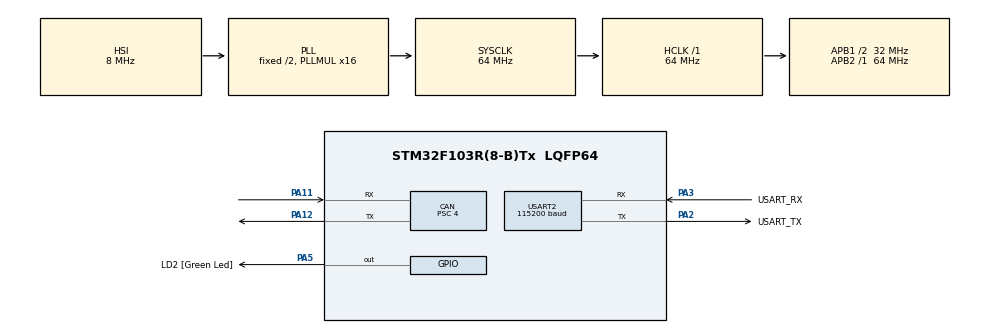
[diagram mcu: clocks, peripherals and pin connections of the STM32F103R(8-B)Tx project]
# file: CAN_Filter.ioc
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CAN.AutoRetransmission=ENABLE
CAN.BS1=CAN_BS1_13TQ
CAN.BS2=CAN_BS2_2TQ
CAN.CalculateBaudRate=500000
CAN.CalculateTimeBit=2000
CAN.CalculateTimeQuantum=125
CAN.Mode=CAN_MODE_LOOPBACK
CAN.Prescaler=4
Mcu.Family=STM32F1
Mcu.Name=STM32F103R(8-B)Tx
Mcu.Package=LQFP64
NVIC.CAN1_RX1_IRQn=true\:1\:0\:false\:false\:true\:true\:true\:true
NVIC.PriorityGroup=NVIC_PRIORITYGROUP_4
NVIC.USB_LP_CAN1_RX0_IRQn=true\:1\:0\:false\:false\:true\:true\:true\:true
PA11.GPIO_PuPd=GPIO_PULLUP
PA11.Mode=Master
PA11.Signal=CAN_RX
PA12.GPIO_Speed=GPIO_SPEED_FREQ_HIGH
PA12.Mode=Master
PA12.Signal=CAN_TX
PA13.GPIO_Label=TMS
PA13.Mode=Serial_Wire
PA13.Signal=SYS_JTMS-SWDIO
PA14.GPIO_Label=TCK
PA14.Mode=Serial_Wire
PA14.Signal=SYS_JTCK-SWCLK
PA2.GPIO_Label=USART_TX
PA2.GPIO_Mode=GPIO_MODE_AF_PP
PA2.GPIO_PuPd=GPIO_NOPULL
PA2.GPIO_Speed=GPIO_SPEED_FREQ_LOW
PA2.Mode=Asynchronous
PA2.Signal=USART2_TX
PA3.GPIO_Label=USART_RX
PA3.GPIO_PuPd=GPIO_NOPULL
PA3.GPIO_Speed=GPIO_SPEED_FREQ_LOW
PA3.Mode=Asynchronous
PA3.Signal=USART2_RX
PA5.GPIO_Label=LD2 [Green Led]
PA5.GPIO_ModeDefaultOutputPP=GPIO_MODE_OUTPUT_PP
PA5.GPIO_PuPd=GPIO_NOPULL
PA5.GPIO_Speed=GPIO_SPEED_FREQ_LOW
PA5.Signal=GPIO_Output
PB3.GPIO_Label=SWO
PB3.Signal=SYS_JTDO-TRACESWO
PC14-OSC32_IN.Mode=LSE-External-Oscillator
PC14-OSC32_IN.Signal=RCC_OSC32_IN
PC15-OSC32_OUT.Mode=LSE-External-Oscillator
PC15-OSC32_OUT.Signal=RCC_OSC32_OUT
PD0-OSC_IN.Mode=HSE-External-Clock-Source
PD0-OSC_IN.Signal=RCC_OSC_IN
PD1-OSC_OUT.Mode=HSE-External-Clock-Source
PD1-OSC_OUT.Signal=RCC_OSC_OUT
ProjectManager.HeapSize=0x200
ProjectManager.StackSize=0x400
ProjectManager.TargetToolchain=STM32CubeIDE
RCC.AHBFreq_Value=64000000
RCC.APB1CLKDivider=RCC_HCLK_DIV2
RCC.APB1Freq_Value=32000000
RCC.APB1TimFreq_Value=64000000
RCC.APB2Freq_Value=64000000
RCC.APB2TimFreq_Value=64000000
RCC.HCLKFreq_Value=64000000
RCC.PLLMUL=RCC_PLL_MUL16
RCC.RTCClockSelection=RCC_RTCCLKSOURCE_LSE
RCC.SYSCLKFreq_VALUE=64000000
RCC.SYSCLKSource=RCC_SYSCLKSOURCE_PLLCLK
RCC.USBFreq_Value=64000000
USART2.BaudRate=115200
USART2.VirtualMode=VM_ASYNC
board=NUCLEO-F103RB

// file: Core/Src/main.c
/* USER CODE BEGIN Header */
/**
 ******************************************************************************
 * @file           : main.c
 * @brief          : Main program body
 ******************************************************************************
 * @attention
 *
 * Copyright (c) 2026 STMicroelectronics.
 * All rights reserved.
 *
 * This software is licensed under terms that can be found in the LICENSE file
 * in the root directory of this software component.
 * If no LICENSE file comes with this software, it is provided AS-IS.
 *
 ******************************************************************************
 */
/**
 * 02_CAN_Filter_c  —  [계층: HAL]  bxCAN 수신 필터(Acceptance filter): ID 리스트 / 마스크 / 표준·확장 프레임, FIFO0·FIFO1 분배
 *
 * 01_CAN_Loopback 은 "모든 프레임 통과" 필터 하나만 썼다. 실제 CAN 버스에는 수많은 ID 가 흐르므로, 관심 있는 것만 하드웨어가 걸러
 * CPU 가 받는 프레임 수를 줄이는 것이 필터의 역할이다 (RM0008 24.7.4 Identifier filtering). 루프백 모드라 트랜시버 없이 시험 가능.
 *
 * 필터 뱅크 (F103xB: 14개 뱅크, 각 뱅크는 32비트 x2 레지스터)  — 이 예제는 3개 사용
 *   뱅크0  32비트 ID 리스트 : 표준 ID 0x100 과 0x200 "정확히" 일치하는 프레임만  -> FIFO0
 *   뱅크1  16비트 마스크    : 표준 ID 0x300~0x3FF (상위 3비트 0b011 일치, 마스크 0x700) 데이터 프레임 -> FIFO1
 *   뱅크2  32비트 마스크    : 확장(29비트) ID 의 ID[28:16] 이 0x18FF 인 것 (0x18FF0000~0x18FFFFFF) -> FIFO0
 *   그 외 ID(표준 0x400, 확장 0x1ABCDEF0)는 어떤 필터에도 안 맞아 수신되지 않는다.
 *
 * 동작: 다음 7개 프레임을 루프백으로 송신하고, 어떤 프레임이 어느 FIFO 로 수신됐는지 표로 출력 (UART 115200)
 *   STD 0x100 / STD 0x200 / STD 0x300 / STD 0x3A5 / STD 0x400 / EXT 0x18FF0001 / EXT 0x1ABCDEF0
 *   기대: 0x100,0x200,EXT 0x18FF0001 -> FIFO0 / 0x300,0x3A5 -> FIFO1 / 0x400, EXT 0x1ABCDEF0 -> 수신 안 됨
 *
 * 필터 레지스터 인코딩 (32비트 스케일): ID 레지스터 = STDID<<21 | EXTID<<3 | IDE<<2 | RTR<<1
 *   표준 ID X : High = X<<5, Low = 0        확장 ID E : High = E>>13, Low = ((E<<3) & 0xFFFF) | IDE(0x4)
 *   16비트 스케일: 각 16비트 필터 = STDID<<5 | RTR<<4 | IDE<<3 | EXTID[17:15]. 뱅크 1개가 (ID, 마스크) 쌍 2개를 담는다.
 *   마스크 모드: 마스크의 1 인 비트는 ID 와 "반드시 일치", 0 인 비트는 "무시".   리스트 모드: 두 ID 와 정확히 일치.
 *
 * ISR vs 콜백
 *   USB_LP_CAN1_RX0_IRQHandler / CAN1_RX1_IRQHandler (stm32f1xx_it.c, 진짜 ISR) -> HAL_CAN_IRQHandler()
 *     -> HAL_CAN_RxFifo0MsgPendingCallback() / HAL_CAN_RxFifo1MsgPendingCallback() (이 파일)
 */
/* USER CODE END Header */
#include "main.h"

/* USER CODE BEGIN Includes */
#include <stdio.h>
#include <string.h>
/* USER CODE END Includes */

/* USER CODE BEGIN PTD */
typedef struct { uint32_t id; uint8_t ext; uint8_t fifo; } rx_rec_t;

/* USER CODE END PTD */

CAN_HandleTypeDef hcan;
UART_HandleTypeDef huart2;

/* USER CODE BEGIN PV */
static rx_rec_t rxlog[16];
static volatile uint8_t rx_n;

static const struct { uint32_t id; uint8_t ext; } tx_list[7] = {
    { 0x100, 0 }, { 0x200, 0 }, { 0x300, 0 }, { 0x3A5, 0 }, { 0x400, 0 }, { 0x18FF0001UL, 1 }, { 0x1ABCDEF0UL, 1 },
};
/* USER CODE END PV */

void SystemClock_Config(void);
static void MX_GPIO_Init(void);
static void MX_CAN_Init(void);
static void MX_USART2_UART_Init(void);
/* USER CODE BEGIN PFP */
static void filters_init(void);

/* USER CODE END PFP */

int main(void)
{

  /* USER CODE BEGIN 1 */
  char msg[96];
  /* USER CODE END 1 */

  /* MCU Configuration--------------------------------------------------------*/

  /* Reset of all peripherals, Initializes the Flash interface and the Systick. */
  HAL_Init();

  /* Configure the system clock */
  SystemClock_Config();

  /* Initialize all configured peripherals */
  MX_GPIO_Init();
  MX_CAN_Init();
  MX_USART2_UART_Init();
  /* USER CODE BEGIN 2 */
  filters_init();

  if (HAL_CAN_Start(&hcan) != HAL_OK) Error_Handler();
  HAL_CAN_ActivateNotification(&hcan, CAN_IT_RX_FIFO0_MSG_PENDING | CAN_IT_RX_FIFO1_MSG_PENDING);   /* CAN1->IER.FMPIE0 / FMPIE1 */
  /* USER CODE END 2 */

  /* Infinite loop */
  while (1)
  {

    /* USER CODE BEGIN 3 */
    rx_n = 0;
    for (int i = 0; i < 7; i++)
    {
        CAN_TxHeaderTypeDef h = {0};
        if (tx_list[i].ext) { h.ExtId = tx_list[i].id; h.IDE = CAN_ID_EXT; }
        else                { h.StdId = tx_list[i].id; h.IDE = CAN_ID_STD; }
        h.RTR = CAN_RTR_DATA;
        h.DLC = 2;
        h.TransmitGlobalTime = DISABLE;
        uint8_t d[2] = { (uint8_t)i, 0xA5 };
        uint32_t mb;
        uint32_t t0 = HAL_GetTick();
        while (HAL_CAN_GetTxMailboxesFreeLevel(&hcan) == 0 && (HAL_GetTick() - t0) < 20) {}   /* 빈 메일박스 대기 */
        HAL_CAN_AddTxMessage(&hcan, &h, d, &mb);
    }
    HAL_Delay(50);                                                   /* 루프백 수신이 끝나길 기다림 */

    HAL_UART_Transmit(&huart2, (uint8_t *)"--- round ---\r\n", 15, 100);
    for (int i = 0; i < 7; i++)
    {
        int fifo = -1;
        for (int k = 0; k < rx_n; k++)
            if (rxlog[k].id == tx_list[i].id && rxlog[k].ext == tx_list[i].ext) fifo = rxlog[k].fifo;
        int n = snprintf(msg, sizeof msg, "%s 0x%08lX  ->  %s\r\n", tx_list[i].ext ? "EXT" : "STD", (unsigned long)tx_list[i].id,
                         fifo < 0 ? "filtered out (not received)" : (fifo == 0 ? "FIFO0" : "FIFO1"));
        HAL_UART_Transmit(&huart2, (uint8_t *)msg, (uint16_t)n, 100);
    }
    HAL_Delay(2000);
  }
  /* USER CODE END 3 */
}

void SystemClock_Config(void)
{
  RCC_OscInitTypeDef RCC_OscInitStruct = {0};
  RCC_ClkInitTypeDef RCC_ClkInitStruct = {0};

  /** Initializes the RCC Oscillators according to the specified parameters
  * in the RCC_OscInitTypeDef structure.
  */
  RCC_OscInitStruct.OscillatorType = RCC_OSCILLATORTYPE_HSI;
  RCC_OscInitStruct.HSIState = RCC_HSI_ON;
  RCC_OscInitStruct.HSICalibrationValue = RCC_HSICALIBRATION_DEFAULT;
  RCC_OscInitStruct.PLL.PLLState = RCC_PLL_ON;
  RCC_OscInitStruct.PLL.PLLSource = RCC_PLLSOURCE_HSI_DIV2;
  RCC_OscInitStruct.PLL.PLLMUL = RCC_PLL_MUL16;
  if (HAL_RCC_OscConfig(&RCC_OscInitStruct) != HAL_OK)
  {
    Error_Handler();
  }

  /** Initializes the CPU, AHB and APB buses clocks
  */
  RCC_ClkInitStruct.ClockType = RCC_CLOCKTYPE_HCLK|RCC_CLOCKTYPE_SYSCLK
                              |RCC_CLOCKTYPE_PCLK1|RCC_CLOCKTYPE_PCLK2;
  RCC_ClkInitStruct.SYSCLKSource = RCC_SYSCLKSOURCE_PLLCLK;
  RCC_ClkInitStruct.AHBCLKDivider = RCC_SYSCLK_DIV1;
  RCC_ClkInitStruct.APB1CLKDivider = RCC_HCLK_DIV2;
  RCC_ClkInitStruct.APB2CLKDivider = RCC_HCLK_DIV1;

  if (HAL_RCC_ClockConfig(&RCC_ClkInitStruct, FLASH_LATENCY_2) != HAL_OK)
  {
    Error_Handler();
  }
}

static void MX_GPIO_Init(void)
{
  GPIO_InitTypeDef GPIO_InitStruct = {0};

  /* GPIO Ports Clock Enable */
  __HAL_RCC_GPIOC_CLK_ENABLE();
  __HAL_RCC_GPIOD_CLK_ENABLE();
  __HAL_RCC_GPIOA_CLK_ENABLE();
  __HAL_RCC_GPIOB_CLK_ENABLE();

  /*Configure GPIO pin Output Level */
  HAL_GPIO_WritePin(LD2_GPIO_Port, LD2_Pin, GPIO_PIN_RESET);

  /*Configure GPIO pin : LD2_Pin */
  GPIO_InitStruct.Pin = LD2_Pin;
  GPIO_InitStruct.Mode = GPIO_MODE_OUTPUT_PP;
  GPIO_InitStruct.Pull = GPIO_NOPULL;
  GPIO_InitStruct.Speed = GPIO_SPEED_FREQ_LOW;
  HAL_GPIO_Init(LD2_GPIO_Port, &GPIO_InitStruct);

}

static void MX_CAN_Init(void)
{

  hcan.Instance = CAN1;
  hcan.Init.Prescaler = 4;
  hcan.Init.Mode = CAN_MODE_LOOPBACK;
  hcan.Init.SyncJumpWidth = CAN_SJW_1TQ;
  hcan.Init.TimeSeg1 = CAN_BS1_13TQ;
  hcan.Init.TimeSeg2 = CAN_BS2_2TQ;
  hcan.Init.TimeTriggeredMode = DISABLE;
  hcan.Init.AutoBusOff = DISABLE;
  hcan.Init.AutoWakeUp = DISABLE;
  hcan.Init.AutoRetransmission = ENABLE;
  hcan.Init.ReceiveFifoLocked = DISABLE;
  hcan.Init.TransmitFifoPriority = DISABLE;
  if (HAL_CAN_Init(&hcan) != HAL_OK)
  {
    Error_Handler();
  }
  /* USER CODE BEGIN CAN_Init 2 */
  /* 비트 타이밍 (CAN 클럭 = APB1 = 32MHz): tq = 4/32MHz = 125ns, 1비트 = 1+13+2 = 16tq = 2us -> 500kbps.
   * Mode  -> CAN1->BTR.LBKM/SILM,  AutoBusOff -> CAN1->MCR.ABOM,  AutoRetransmission -> MCR.NART(반전) */
  /* USER CODE END CAN_Init 2 */

}

static void MX_USART2_UART_Init(void)
{

  huart2.Instance = USART2;
  huart2.Init.BaudRate = 115200;
  huart2.Init.WordLength = UART_WORDLENGTH_8B;
  huart2.Init.StopBits = UART_STOPBITS_1;
  huart2.Init.Parity = UART_PARITY_NONE;
  huart2.Init.Mode = UART_MODE_TX_RX;
  huart2.Init.HwFlowCtl = UART_HWCONTROL_NONE;
  huart2.Init.OverSampling = UART_OVERSAMPLING_16;
  if (HAL_UART_Init(&huart2) != HAL_OK)
  {
    Error_Handler();
  }

}

/* USER CODE BEGIN 4 */
static void filters_init(void)
{
    CAN_FilterTypeDef f = {0};
    f.SlaveStartFilterBank = 14;                                         /* CAN1 이 뱅크 0..13 을 전부 사용 */

    /* 뱅크0: 32비트 ID 리스트 (0x100, 0x200) -> FIFO0 */
    f.FilterBank = 0;
    f.FilterMode = CAN_FILTERMODE_IDLIST;
    f.FilterScale = CAN_FILTERSCALE_32BIT;
    f.FilterIdHigh     = (uint16_t)(0x100u << 5);   f.FilterIdLow     = 0;    /* 첫 번째 ID = 표준 0x100 */
    f.FilterMaskIdHigh = (uint16_t)(0x200u << 5);   f.FilterMaskIdLow = 0;    /* 리스트 모드에서는 이 필드가 "두 번째 ID" */
    f.FilterFIFOAssignment = CAN_RX_FIFO0;
    f.FilterActivation = ENABLE;
    if (HAL_CAN_ConfigFilter(&hcan, &f) != HAL_OK) Error_Handler();

    /* 뱅크1: 16비트 마스크. 표준 0x3xx 데이터 프레임 -> FIFO1.  (16비트: STDID<<5 | RTR<<4 | IDE<<3) */
    f.FilterBank = 1;
    f.FilterMode = CAN_FILTERMODE_IDMASK;
    f.FilterScale = CAN_FILTERSCALE_16BIT;
    f.FilterIdLow      = (uint16_t)(0x300u << 5);                         /* 필터 A ID  : 표준 0x300, RTR=0, IDE=0 */
    f.FilterMaskIdLow  = (uint16_t)((0x700u << 5) | (1u << 4) | (1u << 3)); /* 필터 A 마스크: STDID 상위 3비트 + RTR + IDE 일치 */
    f.FilterIdHigh     = f.FilterIdLow;                                   /* 필터 B 는 A 와 동일하게(중복) */
    f.FilterMaskIdHigh = f.FilterMaskIdLow;
    f.FilterFIFOAssignment = CAN_RX_FIFO1;
    if (HAL_CAN_ConfigFilter(&hcan, &f) != HAL_OK) Error_Handler();

    /* 뱅크2: 32비트 마스크. 확장 ID[28:16] = 0x18FF 인 프레임 -> FIFO0 */
    uint32_t id  = (0x18FF0000UL << 3) | 0x4u;                            /* EXTID<<3 | IDE */
    uint32_t msk = (0x1FFF0000UL << 3) | 0x4u;                            /* ID[28:16](13비트)과 IDE 비트가 일치해야 통과 */
    f.FilterBank = 2;
    f.FilterMode = CAN_FILTERMODE_IDMASK;
    f.FilterScale = CAN_FILTERSCALE_32BIT;
    f.FilterIdHigh     = (uint16_t)(id >> 16);   f.FilterIdLow     = (uint16_t)(id & 0xFFFF);
    f.FilterMaskIdHigh = (uint16_t)(msk >> 16);  f.FilterMaskIdLow  = (uint16_t)(msk & 0xFFFF);
    f.FilterFIFOAssignment = CAN_RX_FIFO0;
    if (HAL_CAN_ConfigFilter(&hcan, &f) != HAL_OK) Error_Handler();
}

/* ------------------------------------------------------------------------- */
/* HAL 콜백 (ISR 문맥): 필터를 통과한 프레임이 FIFO 에 도착                        */
/* ------------------------------------------------------------------------- */
static void record(uint32_t fifo)
{
    CAN_RxHeaderTypeDef rh;
    uint8_t d[8];
    if (HAL_CAN_GetRxMessage(&hcan, fifo, &rh, d) == HAL_OK && rx_n < 16)
    {
        rxlog[rx_n].ext = (rh.IDE == CAN_ID_EXT);
        rxlog[rx_n].id = rxlog[rx_n].ext ? rh.ExtId : rh.StdId;
        rxlog[rx_n].fifo = (fifo == CAN_RX_FIFO0) ? 0 : 1;
        rx_n++;
    }
}
void HAL_CAN_RxFifo0MsgPendingCallback(CAN_HandleTypeDef *h) { (void)h; record(CAN_RX_FIFO0); }
void HAL_CAN_RxFifo1MsgPendingCallback(CAN_HandleTypeDef *h) { (void)h; record(CAN_RX_FIFO1); }

/* USER CODE END 4 */

void Error_Handler(void)
{
  __disable_irq();
  while (1) {
  }
}
#ifdef USE_FULL_ASSERT
/**
  * @brief  Reports the name of the source file and the source line number
  *         where the assert_param error has occurred.
  * @param  file: pointer to the source file name
  * @param  line: assert_param error line source number
  * @retval None
  */
void assert_failed(uint8_t *file, uint32_t line)
{
  /* USER CODE BEGIN 6 */
  /* User can add his own implementation to report the file name and line
     number, ex: printf("Wrong parameters value: file %s on line %d\r\n", file,
     line) */
  /* USER CODE END 6 */
}
#endif /* USE_FULL_ASSERT */
